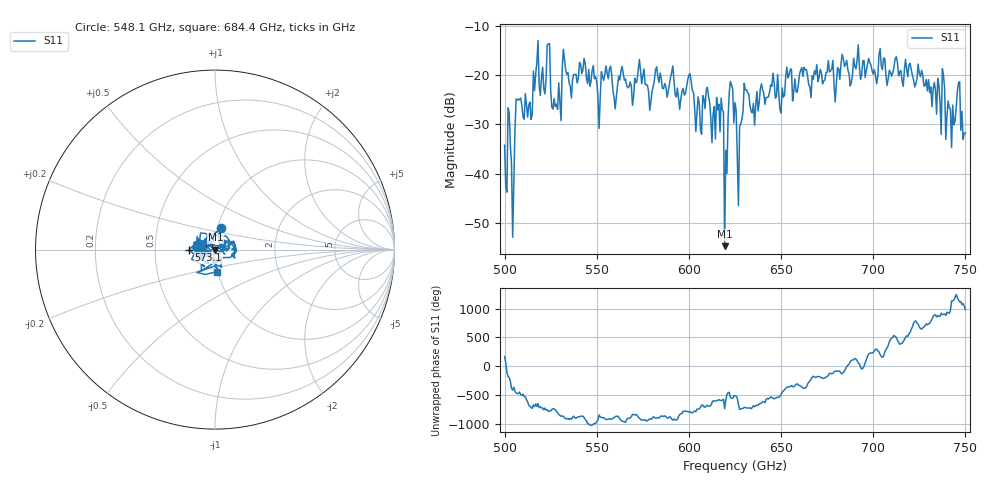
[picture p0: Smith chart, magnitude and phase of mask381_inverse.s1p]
!Created with skrf (http://scikit-rf.org).
# GHz S MA R 50.0
!freq magS11 angS11
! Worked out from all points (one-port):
!   401 points, 500 GHz to 750 GHz, reference 50 ohm
!   lowest |S11| = -54.8 dB at 619.4 GHz (marker M1), VSWR 1.00, Z = 50.2 - j0.0487 ohm
!   |S11| at or under -10 dB: start of sweep to end of sweep
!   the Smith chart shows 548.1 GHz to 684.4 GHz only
!   S11 on the Smith chart (normalised r, x): 548.1 GHz: 1.04, +0.25; 573.1 GHz: 0.75, -0.00; 684.4 GHz: 0.99, -0.25
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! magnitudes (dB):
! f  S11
! 500 GHz  -34.2
! 502.5 GHz  -27.6
! 504.4 GHz  -52.9
! 507.5 GHz  -25.1
! 513.8 GHz  -25.5
! 516.9 GHz  -19.7
! 523.8 GHz  -13.7
! 526.9 GHz  -24.8
! 531.2 GHz  -18.7
! 548.1 GHz  -18.1
! 562.5 GHz  -21.0
! 573.1 GHz  -16.8
! 593.8 GHz  -22.6
! 617.5 GHz  -24.7
! 619.4 GHz  -54.8
! 620.6 GHz  -40.0
! 622.5 GHz  -21.3
! 625 GHz  -25.6
! 627.5 GHz  -30.5
! 631.2 GHz  -23.0
! 635 GHz  -25.8
! 656.2 GHz  -25.3
! 684.4 GHz  -18.2
! 687.5 GHz  -22.2
! 718.8 GHz  -20.3
! 743.1 GHz  -26.1
! 746.9 GHz  -21.3
! 750 GHz  -31.8
